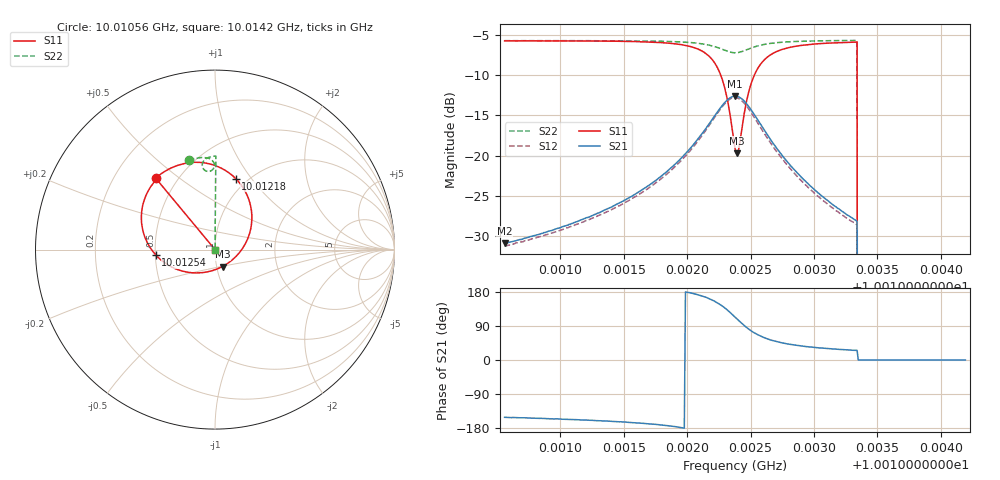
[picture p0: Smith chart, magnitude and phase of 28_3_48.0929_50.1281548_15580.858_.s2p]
#  HZ  S  RI  R  50.00
! Rohde & Schwarz Vector Network Analyzer
! Rohde-Schwarz,ZNB20-2Port,1311601062101988,3.16
! Created: UTC 12/23/2023, 3:37:23 AM
! freq[Hz]  re:S11  im:S11  re:S21  im:S21  re:S12  im:S12  re:S22  im:S22
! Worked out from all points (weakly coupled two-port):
!   401 points, 10.01056 GHz to 10.0142 GHz, reference 50 ohm
!   highest |S21| = -12.59 dB at 10.01238 GHz (marker M1); lowest = -30.9 dB at 10.01056 GHz (marker M2)
!   lowest |S11| = -19.7 dB at 10.0124 GHz (marker M3), VSWR 1.23, Z = 53.4 - j10.2 ohm
!   |S11| at or under -10 dB: 10.01226 GHz to 10.01253 GHz (264.3 kHz wide, 0.00264 % of centre); 10.01334 GHz to end of sweep
!   |S22| runs from - to -5.7 dB; largest |S21 - S12| = 0.011
!   S11 on the Smith chart (normalised r, x): 10.01056 GHz: 0.38, +0.41; 10.01218 GHz: 0.88, +0.84; 10.01254 GHz: 0.50, -0.03; 10.0142 GHz: 1.00, +0.00
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1.0010559e10  -0.3302 0.3992  -0.0249 -0.0137  -0.0232 -0.0144  -0.1462 0.4987
1.0011168e10  -0.2731 0.4398  -0.0371 -0.0147  -0.0348 -0.016  -0.1043 0.509
1.0011486e10  -0.2261 0.4627  -0.0495 -0.015  -0.0468 -0.0167  -0.0802 0.5124
1.0011777e10  -0.1531 0.4828  -0.0717 -0.0116  -0.0683 -0.0148  -0.0547 0.5127
1.0012041e10  -0.0162 0.4739  -0.1146 0.00801  -0.1113 0.00166  -0.0252 0.5042
1.0012177e10  0.1149 0.3961  -0.1511 0.0507  -0.1502 0.0416  -0.00767 0.4865
1.0012241e10  0.1803 0.3001  -0.1634 0.093  -0.1649 0.083  -0.00355 0.4708
1.0012286e10  0.2052 0.1924  -0.1612 0.1342  -0.1638 0.1252  -0.00615 0.4563
1.0012332e10  0.1825 0.0611  -0.1382 0.1804  -0.1433 0.1714  -0.0164 0.4427
1.0012377e10  0.0936 -0.0597  -0.0923 0.2157  -0.0981 0.2081  -0.0337 0.4357
1.0012395e10  0.042 -0.0942  -0.0701 0.2229  -0.0744 0.2161  -0.0419 0.4358
1.0012414e10  -0.0142 -0.1172  -0.0477 0.2256  -0.0514 0.2188  -0.0492 0.4376
1.0012477e10  -0.2061 -0.1122  0.0235 0.2049  0.018 0.1981  -0.0671 0.4539
1.0012541e10  -0.3297 -0.0299  0.0609 0.1632  0.0538 0.158  -0.0711 0.4729
1.0012623e10  -0.3956 0.0841  0.0753 0.1158  0.0678 0.1131  -0.0654 0.4909
1.0012732e10  -0.4099 0.1936  0.0717 0.0759  0.0654 0.0748  -0.0525 0.5044
1.001285e10  -0.3973 0.2673  0.0624 0.0515  0.0573 0.0511  -0.0394 0.512
1.0012986e10  -0.3757 0.3203  0.0525 0.0352  0.0483 0.0358  -0.0255 0.5169
1.0013323e10  -0.328 0.3896  0.0359 0.0172  0.0334 0.018  0.00326 0.5213
1.0013368e10  0 0  0 0  0 0  0 0
1.0013595e10  0 0  0 0  0 0  0 0
1.0014195e10  0 0  0 0  0 0  0 0
